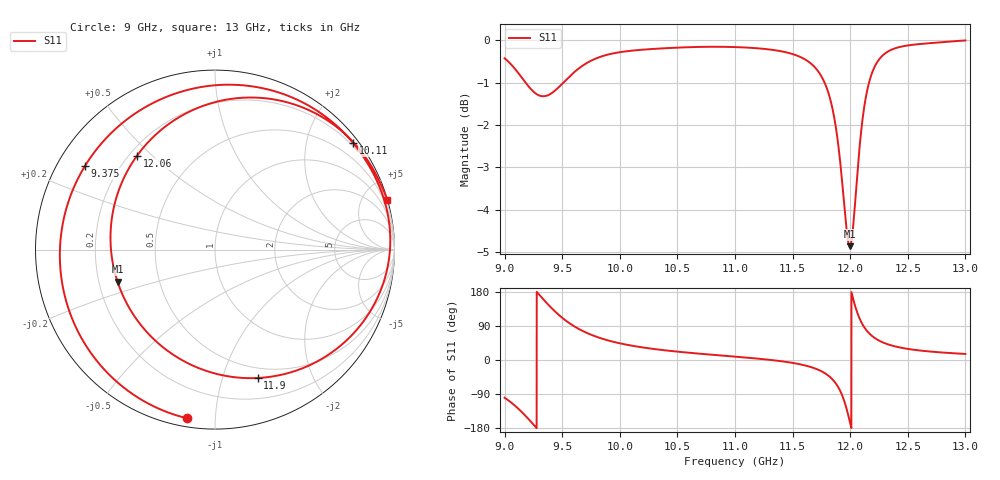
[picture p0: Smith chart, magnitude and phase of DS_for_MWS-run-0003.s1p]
! TOUCHSTONE file generated by CST DESIGN STUDIO
! Date and time: Tue Feb  4 13:55:40 2025
! Project name: C:\Work\MatlabApps\UnitCellOptimizationMatlab\CST\unitcell.cst
! Tree item: Tasks\Sweep1\SPara1\S-Parameters
! Header version: 2024
! Port assignment regex: !\s*Touchstone port\s*([0-9]+)\s*=\s*(CST MWS port|CST DES external port|CST DES block port)\s*(.+)\s* \(\"(.*)\"\)(\s*mode\s*([0-9]+))?.*
! Touchstone port assignment:
! Touchstone port 1 = CST DES external port 1 ("")
# GHz S MA R 50
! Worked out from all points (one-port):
!   4001 points, 9 GHz to 13 GHz, reference 50 ohm
!   lowest |S11| = -4.9 dB at 12 GHz (marker M1), VSWR 3.67, Z = 13.9 - j7.41 ohm
!   |S11| at or under -10 dB: nowhere
!   S11 on the Smith chart (normalised r, x): 9 GHz: 0.04, -0.84; 9.375 GHz: 0.08, +0.29; 10.11 GHz: 0.13, +2.94; 11.9 GHz: 0.40, -1.31; 12.06 GHz: 0.23, +0.45; 13 GHz: 0.01, +7.12
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9  0.9523 -99.6
9.109  0.9186 -125.7
9.22  0.8784 -160.0
9.295  0.8615 174.2
9.375  0.8613 147.2
9.5  0.8887 111.4
9.601  0.9162 89.5
9.733  0.9434 68.9
10  0.9682 44.0
10.11  0.9725 37.5
10.5  0.9803 22.1
11  0.9818 8.9
11.5  0.9633 -7.6
11.76  0.9017 -31.2
11.835  0.8435 -47.8
11.896  0.7536 -71.7
11.948  0.6393 -108.0
11.996  0.5717 -161.8
12  0.5723 -166.9
12.027  0.6063 159.7
12.056  0.68 129.7
12.086  0.7597 106.4
12.12  0.8313 87.4
12.17  0.8982 68.8
12.225  0.9378 55.6
12.335  0.9713 40.6
12.5  0.9862 29.3
13  0.9996 16.0
